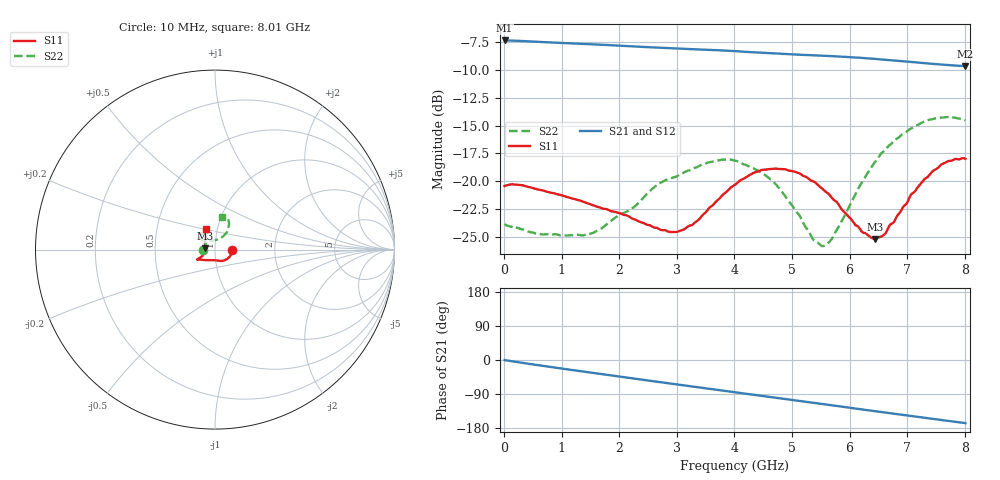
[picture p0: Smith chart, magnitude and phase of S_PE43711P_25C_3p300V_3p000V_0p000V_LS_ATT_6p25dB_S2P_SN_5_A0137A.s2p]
! Device ID: PE43711P
! File Path: z:\PE43711P\CHAR_NOM_04282014\AMB\3p300\LS_ATT_6p25dB\PE43711P_AMB_3p300V_3p000V_0p000V_LS_ATT_6p25dB_S2P_SN_5_A0137A.s2p
! Serial: 5
! Lot: A0137A
! Temp: 25C
! VDD: 3.300
! VSS: 0.000
! Control_Hi: 3.000
! Control_Lo: 0.000
! Attenuation Step: 6.25dB
! Port 1: RF1
! Port 2: RF2
! ThroughPath:1-2
! IDD: 0.000127818
! ISS: -3.49e-008
#  Hz  S  RI  R  50
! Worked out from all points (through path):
!   801 points, 10 MHz to 8.01 GHz, reference 50 ohm
!   highest |S21| = -7.34 dB at 10 MHz (marker M1); lowest = -9.6 dB at 8.01 GHz (marker M2)
!   group delay of S21, straight-line fit = 57.4 ps
!   lowest |S11| = -25.2 dB at 6.44 GHz (marker M3), VSWR 1.12, Z = 44.8 + j0.622 ohm
!   |S11| at or under -10 dB: start of sweep to end of sweep
!   |S22| runs from -25.8 to -14.2 dB; largest |S21 - S12| = 0.0007
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1e7  0.0953 -0.00043  0.4298 -0.00215  0.43 -0.00233  -0.0642 0.000485
6e8  0.0846 -0.0355  0.4113 -0.1015  0.4116 -0.1016  -0.0579 0.00343
1.35e9  0.0566 -0.0584  0.3595 -0.2077  0.3598 -0.2078  -0.0543 0.0175
2.2e9  0.0273 -0.0629  0.2709 -0.3007  0.2713 -0.3008  -0.0518 0.0539
2.68e9  0.00969 -0.0605  0.2127 -0.3376  0.2129 -0.3378  -0.0571 0.0788
2.98e9  -0.00669 -0.0588  0.1739 -0.3559  0.174 -0.3562  -0.0636 0.0832
3.26e9  -0.0244 -0.0586  0.1358 -0.3686  0.136 -0.3688  -0.0709 0.0883
3.68e9  -0.0563 -0.0584  0.0783 -0.3804  0.0781 -0.3807  -0.0868 0.088
4.01e9  -0.0785 -0.0561  0.0321 -0.3833  0.0318 -0.3836  -0.0958 0.0784
4.34e9  -0.0946 -0.0549  -0.013 -0.38  -0.0131 -0.3802  -0.0915 0.0681
4.68e9  -0.1 -0.0546  -0.0581 -0.3713  -0.0582 -0.3714  -0.0799 0.0589
5.04e9  -0.097 -0.0531  -0.1031 -0.3573  -0.1033 -0.3572  -0.0553 0.0512
5.35e9  -0.0885 -0.0473  -0.1405 -0.3408  -0.1407 -0.3412  -0.0276 0.0483
5.53e9  -0.0814 -0.0435  -0.1615 -0.3295  -0.1615 -0.3296  -0.00916 0.0503
5.67e9  -0.0758 -0.0399  -0.1774 -0.3197  -0.1776 -0.3198  0.0057 0.0538
6.21e9  -0.0584 -0.0113  -0.232 -0.2732  -0.2324 -0.2734  0.0541 0.0824
6.44e9  -0.0545 0.00691  -0.2517 -0.2502  -0.2519 -0.2504  0.0682 0.1012
6.68e9  -0.055 0.0295  -0.2691 -0.2252  -0.2691 -0.2255  0.0752 0.1235
7.07e9  -0.0583 0.0651  -0.2918 -0.182  -0.2918 -0.1821  0.0764 0.1551
7.44e9  -0.059 0.0939  -0.3068 -0.1402  -0.3069 -0.1404  0.0653 0.1789
7.7e9  -0.0586 0.1079  -0.3142 -0.111  -0.3142 -0.1108  0.0527 0.1873
8.01e9  -0.051 0.1155  -0.3203 -0.0764  -0.3206 -0.0758  0.0408 0.1834
